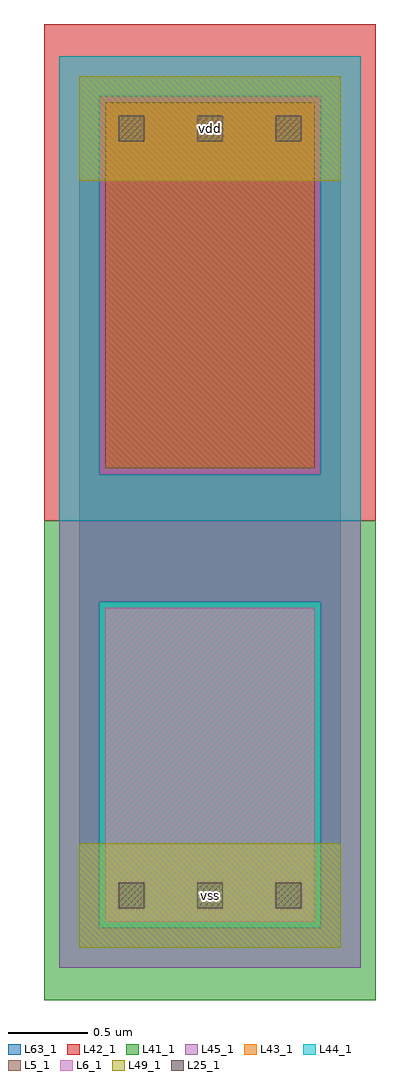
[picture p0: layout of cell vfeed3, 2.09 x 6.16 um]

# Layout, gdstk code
import gdstk
lib = gdstk.Library(unit=1e-6, precision=1e-09)
def R(c, l, rs):  # rectangles x0, y0, x1, y1
    for r in rs: c.add(gdstk.rectangle(r[:2], r[2:], *l))
def A(c, l, x, y, w, h, nx, ny, dx, dy):  # array of equal rectangles
    R(c, l, [(x+i*dx, y+j*dy, x+i*dx+w, y+j*dy+h) for i in range(nx) for j in range(ny)])
L5_1 = (5, 1)
L6_1 = (6, 1)
L25_1 = (25, 1)
L41_1 = (41, 1)
L42_1 = (42, 1)
L43_1 = (43, 1)
L44_1 = (44, 1)
L45_1 = (45, 1)
L49_1 = (49, 1)
L63_1 = (63, 1)

vfeed3 = lib.new_cell('vfeed3')
R(vfeed3, L5_1, [(0.165,3.025,1.485,5.335)])
R(vfeed3, L6_1, [(0.165,0.165,1.485,2.145)])
A(vfeed3, L25_1, 0.25, 0.25, 0.16, 0.16, 3, 2, 0.495, 4.84)
R(vfeed3, L41_1, [(-0.22,-0.33,1.87,2.695)])
R(vfeed3, L42_1, [(-0.22,2.695,1.87,5.83)])
R(vfeed3, L43_1, [(0.165,0.165,1.485,2.145), (0.165,3.025,1.485,5.335)])
R(vfeed3, L44_1, [(0.125,0.125,1.525,2.185), (-0.125,2.695,1.775,2.985), (-0.125,2.985,0.125,5.375), (1.525,2.985,1.775,5.375), (-0.125,5.375,1.775,5.625)])
R(vfeed3, L45_1, [(-0.125,-0.125,1.775,0.125), (-0.125,0.125,0.125,2.185), (1.525,0.125,1.775,2.185), (-0.125,2.185,1.775,2.695), (0.125,2.985,1.525,5.375)])
R(vfeed3, L49_1, [(0,0,1.65,0.66), (0,4.84,1.65,5.5)])
R(vfeed3, L63_1, [(0,0,1.65,5.5)])
vfeed3.add(gdstk.Label('vss', (0.825,0.33), layer=49, texttype=1))
vfeed3.add(gdstk.Label('vss', (0.825,0.33), layer=49, texttype=1))
vfeed3.add(gdstk.Label('vdd', (0.825,5.17), layer=49, texttype=1))
vfeed3.add(gdstk.Label('vdd', (0.825,5.17), layer=49, texttype=1))

lib.write_gds('vfeed3.gds')
